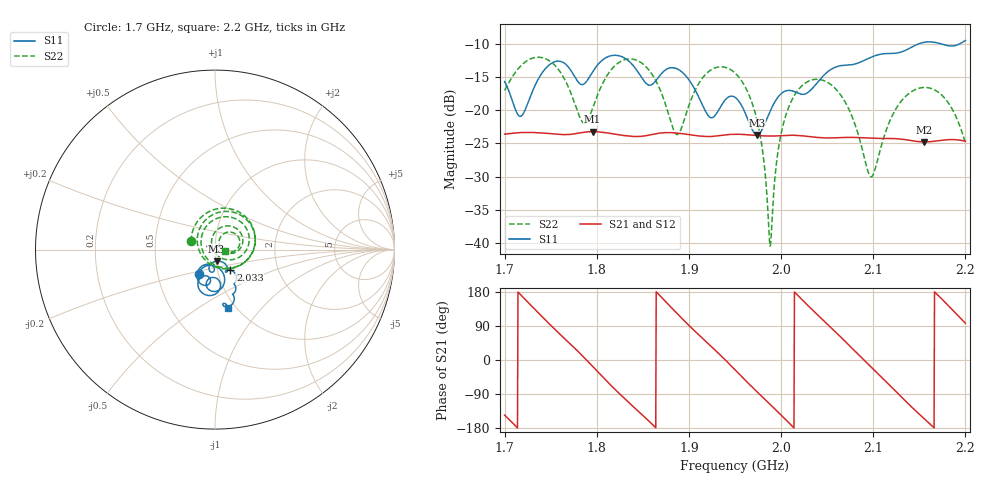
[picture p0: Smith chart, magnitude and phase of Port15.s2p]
# Hz S RI R 50
! CMT, CMT808U, 21440046, 21.4.3/4
! Date: 11/17/2025 2:54:59 PM
! Data: Format (Calibration Info)
! Freq	S11:Re/Im(F2)	S41:Re/Im(F2)	S14:Re/Im(F2)	S44:Re/Im(F2)
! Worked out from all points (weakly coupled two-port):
!   1001 points, 1.7 GHz to 2.2 GHz, reference 50 ohm
!   highest |S21| = -23.24 dB at 1.796 GHz (marker M1); lowest = -24.8 dB at 2.155 GHz (marker M2)
!   lowest |S11| = -23.7 dB at 1.974 GHz (marker M3), VSWR 1.14, Z = 50.4 - j6.53 ohm
!   |S11| at or under -10 dB: start of sweep to 2.15 GHz; 2.172 GHz to 2.194 GHz (21.92 MHz wide, 1 % of centre)
!   |S22| runs from -40.5 to -12.0 dB; largest |S21 - S12| = 0.0002
!   S11 on the Smith chart (normalised r, x): 1.7 GHz: 0.81, -0.23; 2.033 GHz: 1.15, -0.27; 2.2 GHz: 0.92, -0.67
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1.7e9  -0.0887 -0.1378  -0.0542 -0.0375  -0.0543 -0.0374  -0.1328 0.0465
1.7175e9  -0.011 -0.089  -0.0671 0.00951  -0.0671 0.00961  -0.0312 0.2125
1.744e9  0.0471 -0.1985  -0.0188 0.0644  -0.0187 0.0644  0.2124 0.1204
1.7835e9  -0.0119 -0.155  0.0659 0.0157  0.066 0.0156  -0.0358 -0.0751
1.7955e9  0.0301 -0.1914  0.0658 -0.0202  0.0658 -0.0203  -0.0978 0.0324
1.83e9  -0.0794 -0.2336  -0.0127 -0.063  -0.0128 -0.063  0.143 0.1916
1.867e9  -0.0248 -0.1749  -0.0665 0.00738  -0.0666 0.0075  0.1166 -0.0965
1.8875e9  -0.0857 -0.1848  -0.0354 0.057  -0.0354 0.0571  -0.0567 -0.0327
1.923e9  -0.0322 -0.082  0.0496 0.0393  0.0496 0.0393  0.0796 0.182
1.95e9  -0.0272 -0.1218  0.0593 -0.0286  0.0592 -0.0288  0.1878 0.03
1.974e9  0.00847 -0.0645  0.00657 -0.064  0.00647 -0.0641  0.0621 -0.0556
1.9885e9  0.058 -0.0808  -0.03 -0.0562  -0.0301 -0.0562  -0.00928 -0.00258
1.996e9  0.07 -0.1017  -0.0457 -0.0447  -0.0458 -0.0446  -0.0194 0.041
2.0035e9  0.0686 -0.1198  -0.0576 -0.0287  -0.0577 -0.0286  -0.00909 0.0831
2.0325e9  0.0858 -0.1134  -0.0451 0.044  -0.045 0.044  0.1215 0.1158
2.0335e9  0.0884 -0.1142  -0.0432 0.0457  -0.0431 0.0458  0.1254 0.1129
2.068e9  0.1092 -0.1878  0.0375 0.0496  0.0376 0.0496  0.1191 -0.0127
2.097e9  0.116 -0.2199  0.0588 -0.0179  0.0588 -0.018  0.0295 0.0114
2.117e9  0.0993 -0.2473  0.0264 -0.0552  0.0263 -0.0553  0.0328 0.0728
2.1555e9  0.0859 -0.3122  -0.0524 -0.0241  -0.0524 -0.0241  0.1322 0.0667
2.1795e9  0.0441 -0.3033  -0.051 0.0312  -0.051 0.0313  0.1183 -0.00149
2.2e9  0.0705 -0.3265  -0.00718 0.0579  -0.00709 0.0579  0.0564 -0.00541
